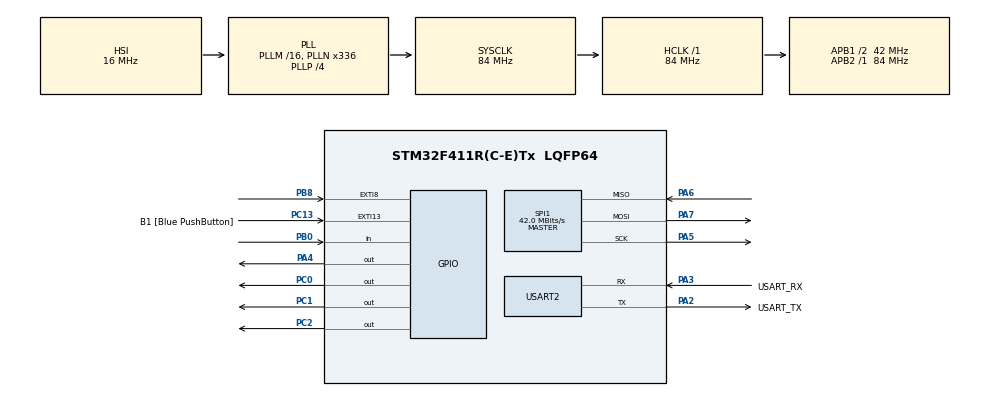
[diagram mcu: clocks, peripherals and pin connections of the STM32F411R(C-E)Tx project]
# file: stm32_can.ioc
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FREERTOS.Tasks01=defaultTask,24,2048,StartDefaultTask,Default,NULL,Dynamic,NULL,NULL
Mcu.Family=STM32F4
Mcu.Name=STM32F411R(C-E)Tx
Mcu.Package=LQFP64
NVIC.EXTI9_5_IRQn=true\:5\:0\:false\:false\:true\:true\:true\:true\:true
NVIC.PriorityGroup=NVIC_PRIORITYGROUP_4
NVIC.TIM1_TRG_COM_TIM11_IRQn=true\:15\:0\:false\:false\:true\:false\:false\:true\:true
NVIC.TIM2_IRQn=true\:5\:0\:false\:false\:true\:true\:true\:true\:true
NVIC.TimeBase=TIM1_TRG_COM_TIM11_IRQn
NVIC.TimeBaseIP=TIM11
PA13.GPIO_Label=TMS
PA13.Mode=Serial_Wire
PA13.Signal=SYS_JTMS-SWDIO
PA14.GPIO_Label=TCK
PA14.Mode=Serial_Wire
PA14.Signal=SYS_JTCK-SWCLK
PA2.GPIO_Label=USART_TX
PA2.Mode=Asynchronous
PA2.Signal=USART2_TX
PA3.GPIO_Label=USART_RX
PA3.Mode=Asynchronous
PA3.Signal=USART2_RX
PA4.Signal=GPIO_Output
PA5.Mode=Full_Duplex_Master
PA5.Signal=SPI1_SCK
PA6.Mode=Full_Duplex_Master
PA6.Signal=SPI1_MISO
PA7.Mode=Full_Duplex_Master
PA7.Signal=SPI1_MOSI
PB0.Signal=GPIO_Input
PB3.GPIO_Label=SWO
PB3.Signal=SYS_JTDO-SWO
PB8.GPIO_ModeDefaultEXTI=GPIO_MODE_IT_FALLING
PB8.GPIO_PuPd=GPIO_PULLUP
PB8.Signal=GPXTI8
PC0.Signal=GPIO_Output
PC1.Signal=GPIO_Output
PC13-ANTI_TAMP.GPIO_Label=B1 [Blue PushButton]
PC13-ANTI_TAMP.GPIO_ModeDefaultEXTI=GPIO_MODE_IT_FALLING
PC13-ANTI_TAMP.Signal=GPXTI13
PC14-OSC32_IN.Mode=LSE-External-Oscillator
PC14-OSC32_IN.Signal=RCC_OSC32_IN
PC15-OSC32_OUT.Mode=LSE-External-Oscillator
PC15-OSC32_OUT.Signal=RCC_OSC32_OUT
PC2.Signal=GPIO_Output
PH0\ -\ OSC_IN.Mode=HSE-External-Clock-Source
PH0\ -\ OSC_IN.Signal=RCC_OSC_IN
PH1\ -\ OSC_OUT.Mode=HSE-External-Clock-Source
PH1\ -\ OSC_OUT.Signal=RCC_OSC_OUT
ProjectManager.HeapSize=0x200
ProjectManager.StackSize=0x400
ProjectManager.TargetToolchain=STM32CubeIDE
RCC.48MHZClocksFreq_Value=84000000
RCC.AHBFreq_Value=84000000
RCC.APB1CLKDivider=RCC_HCLK_DIV2
RCC.APB1Freq_Value=42000000
RCC.APB1TimFreq_Value=84000000
RCC.APB2Freq_Value=84000000
RCC.APB2TimFreq_Value=84000000
RCC.CortexFreq_Value=84000000
RCC.FLatency-AdvancedSettings=FLASH_LATENCY_2
RCC.HCLKFreq_Value=84000000
RCC.HSE_VALUE=8000000
RCC.HSI_VALUE=16000000
RCC.PLLN=336
RCC.PLLP=RCC_PLLP_DIV4
RCC.SYSCLKFreq_VALUE=84000000
RCC.SYSCLKSource=RCC_SYSCLKSOURCE_PLLCLK
RCC.VCOOutputFreq_Value=336000000
SPI1.CalculateBaudRate=42.0 MBits/s
SPI1.Direction=SPI_DIRECTION_2LINES
SPI1.Mode=SPI_MODE_MASTER
SPI1.VirtualType=VM_MASTER
TIM2.Period=299
TIM2.Prescaler=83
USART2.VirtualMode=VM_ASYNC
VP_FREERTOS_VS_CMSIS_V2.Mode=CMSIS_V2
VP_SYS_VS_tim11.Mode=TIM11
VP_TIM2_VS_ClockSourceINT.Mode=Internal
board=NUCLEO-F411RE

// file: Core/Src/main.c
/* USER CODE BEGIN Header */
/**
  ******************************************************************************
  * @file           : main.c
  * @brief          : Pill Dispenser — TB6600 Stepper + IR Sensor (FreeRTOS)
  ******************************************************************************
  * @attention
  *
  * Copyright (c) 2026 STMicroelectronics.
  * All rights reserved.
  *
  ******************************************************************************
  */
/* USER CODE END Header */
#include "main.h"
#include "cmsis_os.h"

/* USER CODE BEGIN Includes */
#include <stdio.h>
#include "mcp2515.h"
/* USER CODE END Includes */

/* USER CODE BEGIN PD */
#define STEPS_PER_DISPENSE  (520U * 2U)  /* 1정 투입 스텝 수 (520스텝 × 2토글, 1/16 마이크로스텝) */

/* 알약 투입 공정 타이밍·설정 — 현장 튜닝 시 이 값만 수정 */
#define PILLS_PER_BOTTLE           2U    /* 약통당 알약 투입 정수 */
#define CONTAINER_QUEUE_DEPTH      8U    /* CAN 약통 정보 대기 큐 깊이 */
#define CONTAINER_QUEUE_WAIT_MS  200U    /* 센서 감지 시 큐 pop 최대 대기 */
#define BELT_STOP_SETTLE_MS        200U  /* 1번 보드 벨트 STOP 반영 대기 */
#define PILL_INTERVAL_MS           500U  /* 알약 1정 투입 간격 */
#define POST_DISPENSE_MS           500U  /* 투입 완료 후 RESUME 전 안정화 */
#define PILL_SENSOR_REARM_MS       500U  /* 알약 센서 클리어 후 재무장 대기 */
/* USER CODE END PD */

SPI_HandleTypeDef hspi1;

TIM_HandleTypeDef htim2;

UART_HandleTypeDef huart2;

/* Definitions for defaultTask */
osThreadId_t defaultTaskHandle;
const osThreadAttr_t defaultTask_attributes = {
  .name = "defaultTask",
  .stack_size = 2048 * 4,
  .priority = (osPriority_t) osPriorityNormal,
};
/* USER CODE BEGIN PV */
MCP2515_HandleTypeDef hmcp2515;

osMutexId_t       canMutex;              /* MCP2515 SPI 동시 접근 방지 */
osSemaphoreId_t   sem_can_rx;            /* MCP2515 INT → CanRxTask 즉시 기상 */
osMessageQueueId_t containerQueue;       /* 1번 보드 약통 정보 수신 큐 (최대 8) */

osSemaphoreId_t   sem_dispense_done;     /* TIM2 ISR → Task: 스텝 완료 신호 */
osSemaphoreId_t   sem_pill_trigger;      /* PB8 IR 센서 EXTI → Task: 약통 도착 신호 */
volatile uint32_t tim_toggle_count   = 0U;
volatile uint32_t tim_target_toggles = 0U;
/* USER CODE END PV */

void SystemClock_Config(void);
static void MX_GPIO_Init(void);
static void MX_USART2_UART_Init(void);
static void MX_TIM2_Init(void);
static void MX_SPI1_Init(void);
void StartDefaultTask(void *argument);

/* USER CODE BEGIN PFP */
static void Dispense_Once(void);
static void CanRxTask(void *argument);
/* USER CODE END PFP */

/* USER CODE BEGIN 0 */
int __io_putchar(int ch)
{
  HAL_UART_Transmit(&huart2, (uint8_t *)&ch, 1, HAL_MAX_DELAY);
  return ch;
}

/* 약통 seq 연속성 검증: 직전 seq+1과 다르면 누락/중복으로 보고 후 현재 값으로 재동기화한다.
 * last_seq/have_last는 호출부의 static 상태를 가리킨다. */
static void Seq_CheckContinuity(const char *tag, uint8_t seq,
                                uint8_t *last_seq, uint8_t *have_last)
{
  if (*have_last)
  {
    uint8_t expected = (uint8_t)(*last_seq + 1U);
    if (seq != expected)
      printf("%s 약통 번호 불연속! (기대 %u, 수신 %u) — 정보 누락 가능, 재동기화\r\n",
             tag, expected, seq);
  }
  *last_seq  = seq;
  *have_last = 1U;
}

/* 2번 보드가 STOP을 보낸 뒤에만 RESUME을 1회 전송한다. */
static uint8_t g_belt_stopped_by_pill = 0U;

static void PillSensor_DrainPending(void)
{
  while (osSemaphoreAcquire(sem_pill_trigger, 0U) == osOK)
  {
  }
}

static void PillSensor_WaitClearAndRearm(uint32_t debounce_ms)
{
  while (HAL_GPIO_ReadPin(SENSOR_PILL_GPIO_Port, SENSOR_PILL_Pin) == GPIO_PIN_RESET)
    osDelay(10U);

  osDelay(debounce_ms);
  PillSensor_DrainPending();
}

static HAL_StatusTypeDef Belt_SendStop(MCP2515_CanMsg *can_msg)
{
  can_msg->data[0] = CAN_CMD_BELT_STOP;
  osMutexAcquire(canMutex, osWaitForever);
  HAL_StatusTypeDef st = MCP2515_Send(&hmcp2515, can_msg);
  osMutexRelease(canMutex);
  if (st == HAL_OK)
    g_belt_stopped_by_pill = 1U;
  return st;
}

static HAL_StatusTypeDef Belt_SendResume(MCP2515_CanMsg *can_msg)
{
  if (g_belt_stopped_by_pill == 0U)
    return HAL_BUSY;

  can_msg->data[0] = CAN_CMD_BELT_RESUME;
  osMutexAcquire(canMutex, osWaitForever);
  HAL_StatusTypeDef st = MCP2515_Send(&hmcp2515, can_msg);
  osMutexRelease(canMutex);
  if (st == HAL_OK)
    g_belt_stopped_by_pill = 0U;
  return st;
}
/* USER CODE END 0 */

int main(void)
{

  /* MCU Configuration--------------------------------------------------------*/

  /* Reset of all peripherals, Initializes the Flash interface and the Systick. */
  HAL_Init();

  /* Configure the system clock */
  SystemClock_Config();

  /* Initialize all configured peripherals */
  MX_GPIO_Init();
  MX_USART2_UART_Init();
  MX_TIM2_Init();
  MX_SPI1_Init();
  /* USER CODE BEGIN 2 */
  setvbuf(stdout, NULL, _IONBF, 0);
  printf("\r\n=== [2번 보드] 알약 투입기 시작 ===\r\n");

  HAL_GPIO_WritePin(STEPPER_ENA_GPIO_Port, STEPPER_ENA_Pin, GPIO_PIN_SET);  /* 초기: 모터 비활성 */

  hmcp2515.hspi    = &hspi1;
  hmcp2515.cs_port = MCP2515_CS_GPIO_Port;
  hmcp2515.cs_pin  = MCP2515_CS_Pin;
  hmcp2515.osc_hz  = MCP2515_OSC_8MHZ;

  if (MCP2515_Init(&hmcp2515) != HAL_OK)
  {
    printf("[통신] CAN 초기화 실패\r\n");
    MCP2515_PrintDiag(&hmcp2515);
  }
  else
  {
    MCP2515_SetAcceptanceFilter(&hmcp2515, CAN_ID_1ST_TX, 0x7FFU);
    MCP2515_SetNormalMode(&hmcp2515);
    printf("[통신] CAN 연결 완료 (8MHz)\r\n");
  }
  /* USER CODE END 2 */

  /* Init scheduler */
  osKernelInitialize();

  /* USER CODE BEGIN RTOS_MUTEX */
  canMutex = osMutexNew(NULL);
  if (canMutex == NULL) Error_Handler();
  /* USER CODE END RTOS_MUTEX */

  /* USER CODE BEGIN RTOS_SEMAPHORES */
  sem_dispense_done = osSemaphoreNew(1U, 0U, NULL);
  if (sem_dispense_done == NULL) Error_Handler();

  /* PB8 IR 센서 (EXTI line 8) 세마포어 — 생성 후 NVIC 활성화 */
  sem_pill_trigger = osSemaphoreNew(1U, 0U, NULL);
  if (sem_pill_trigger == NULL) Error_Handler();

  __HAL_GPIO_EXTI_CLEAR_IT(SENSOR_PILL_Pin);
  HAL_NVIC_SetPriority(EXTI9_5_IRQn, 5, 0);
  HAL_NVIC_EnableIRQ(EXTI9_5_IRQn);

  /* MCP2515 INT (PB0) 세마포어 — 생성 후 NVIC 활성화 */
  sem_can_rx = osSemaphoreNew(2U, 0U, NULL);
  if (sem_can_rx == NULL) Error_Handler();

  __HAL_GPIO_EXTI_CLEAR_IT(MCP2515_INT_Pin);
  HAL_NVIC_SetPriority(EXTI0_IRQn, 5, 0);
  HAL_NVIC_EnableIRQ(EXTI0_IRQn);
  /* USER CODE END RTOS_SEMAPHORES */

  /* USER CODE BEGIN RTOS_QUEUES */
  containerQueue = osMessageQueueNew(CONTAINER_QUEUE_DEPTH, sizeof(ContainerInfo), NULL);
  if (containerQueue == NULL) Error_Handler();
  /* USER CODE END RTOS_QUEUES */

  /* Create the thread(s) */
  /* creation of defaultTask */
  defaultTaskHandle = osThreadNew(StartDefaultTask, NULL, &defaultTask_attributes);

  /* USER CODE BEGIN RTOS_THREADS */
  static const osThreadAttr_t can_rx_attr = {
    .name       = "CanRxTask",
    .stack_size = 256U * 4U,
    .priority   = osPriorityAboveNormal,
  };
  if (osThreadNew(CanRxTask, NULL, &can_rx_attr) == NULL)
    Error_Handler();
  /* USER CODE END RTOS_THREADS */

  /* Start scheduler */
  osKernelStart();

  /* We should never get here as control is now taken by the scheduler */

  /* Infinite loop */
  while (1)
  {

  }
}

void SystemClock_Config(void)
{
  RCC_OscInitTypeDef RCC_OscInitStruct = {0};
  RCC_ClkInitTypeDef RCC_ClkInitStruct = {0};

  /** Configure the main internal regulator output voltage
  */
  __HAL_RCC_PWR_CLK_ENABLE();
  __HAL_PWR_VOLTAGESCALING_CONFIG(PWR_REGULATOR_VOLTAGE_SCALE1);

  /** Initializes the RCC Oscillators according to the specified parameters
  * in the RCC_OscInitTypeDef structure.
  */
  RCC_OscInitStruct.OscillatorType = RCC_OSCILLATORTYPE_HSI;
  RCC_OscInitStruct.HSIState = RCC_HSI_ON;
  RCC_OscInitStruct.HSICalibrationValue = RCC_HSICALIBRATION_DEFAULT;
  RCC_OscInitStruct.PLL.PLLState = RCC_PLL_ON;
  RCC_OscInitStruct.PLL.PLLSource = RCC_PLLSOURCE_HSI;
  RCC_OscInitStruct.PLL.PLLM = 16;
  RCC_OscInitStruct.PLL.PLLN = 336;
  RCC_OscInitStruct.PLL.PLLP = RCC_PLLP_DIV4;
  RCC_OscInitStruct.PLL.PLLQ = 4;
  if (HAL_RCC_OscConfig(&RCC_OscInitStruct) != HAL_OK)
  {
    Error_Handler();
  }

  /** Initializes the CPU, AHB and APB buses clocks
  */
  RCC_ClkInitStruct.ClockType = RCC_CLOCKTYPE_HCLK|RCC_CLOCKTYPE_SYSCLK
                              |RCC_CLOCKTYPE_PCLK1|RCC_CLOCKTYPE_PCLK2;
  RCC_ClkInitStruct.SYSCLKSource = RCC_SYSCLKSOURCE_PLLCLK;
  RCC_ClkInitStruct.AHBCLKDivider = RCC_SYSCLK_DIV1;
  RCC_ClkInitStruct.APB1CLKDivider = RCC_HCLK_DIV2;
  RCC_ClkInitStruct.APB2CLKDivider = RCC_HCLK_DIV1;

  if (HAL_RCC_ClockConfig(&RCC_ClkInitStruct, FLASH_LATENCY_2) != HAL_OK)
  {
    Error_Handler();
  }
}

static void MX_SPI1_Init(void)
{

  /* SPI1 parameter configuration*/
  hspi1.Instance = SPI1;
  hspi1.Init.Mode = SPI_MODE_MASTER;
  hspi1.Init.Direction = SPI_DIRECTION_2LINES;
  hspi1.Init.DataSize = SPI_DATASIZE_8BIT;
  hspi1.Init.CLKPolarity = SPI_POLARITY_LOW;
  hspi1.Init.CLKPhase = SPI_PHASE_1EDGE;
  hspi1.Init.NSS = SPI_NSS_SOFT;
  hspi1.Init.BaudRatePrescaler = SPI_BAUDRATEPRESCALER_2;
  hspi1.Init.FirstBit = SPI_FIRSTBIT_MSB;
  hspi1.Init.TIMode = SPI_TIMODE_DISABLE;
  hspi1.Init.CRCCalculation = SPI_CRCCALCULATION_DISABLE;
  hspi1.Init.CRCPolynomial = 10;
  if (HAL_SPI_Init(&hspi1) != HAL_OK)
  {
    Error_Handler();
  }
  /* USER CODE BEGIN SPI1_Init 2 */
  /* MCP2515 최대 클럭 10MHz, 84MHz/16=5.25MHz로 재초기화 */
  hspi1.Init.BaudRatePrescaler = SPI_BAUDRATEPRESCALER_16;
  if (HAL_SPI_Init(&hspi1) != HAL_OK) Error_Handler();
  /* USER CODE END SPI1_Init 2 */

}

static void MX_TIM2_Init(void)
{

  TIM_ClockConfigTypeDef sClockSourceConfig = {0};
  TIM_MasterConfigTypeDef sMasterConfig = {0};

  htim2.Instance = TIM2;
  htim2.Init.Prescaler = 83;
  htim2.Init.CounterMode = TIM_COUNTERMODE_UP;
  htim2.Init.Period = 299;
  htim2.Init.ClockDivision = TIM_CLOCKDIVISION_DIV1;
  htim2.Init.AutoReloadPreload = TIM_AUTORELOAD_PRELOAD_DISABLE;
  if (HAL_TIM_Base_Init(&htim2) != HAL_OK)
  {
    Error_Handler();
  }
  sClockSourceConfig.ClockSource = TIM_CLOCKSOURCE_INTERNAL;
  if (HAL_TIM_ConfigClockSource(&htim2, &sClockSourceConfig) != HAL_OK)
  {
    Error_Handler();
  }
  sMasterConfig.MasterOutputTrigger = TIM_TRGO_RESET;
  sMasterConfig.MasterSlaveMode = TIM_MASTERSLAVEMODE_DISABLE;
  if (HAL_TIMEx_MasterConfigSynchronization(&htim2, &sMasterConfig) != HAL_OK)
  {
    Error_Handler();
  }

}

static void MX_USART2_UART_Init(void)
{

  huart2.Instance = USART2;
  huart2.Init.BaudRate = 115200;
  huart2.Init.WordLength = UART_WORDLENGTH_8B;
  huart2.Init.StopBits = UART_STOPBITS_1;
  huart2.Init.Parity = UART_PARITY_NONE;
  huart2.Init.Mode = UART_MODE_TX_RX;
  huart2.Init.HwFlowCtl = UART_HWCONTROL_NONE;
  huart2.Init.OverSampling = UART_OVERSAMPLING_16;
  if (HAL_UART_Init(&huart2) != HAL_OK)
  {
    Error_Handler();
  }

}

static void MX_GPIO_Init(void)
{
  GPIO_InitTypeDef GPIO_InitStruct = {0};

  /* GPIO Ports Clock Enable */
  __HAL_RCC_GPIOC_CLK_ENABLE();
  __HAL_RCC_GPIOH_CLK_ENABLE();
  __HAL_RCC_GPIOA_CLK_ENABLE();
  __HAL_RCC_GPIOB_CLK_ENABLE();

  /*Configure GPIO pin Output Level */
  HAL_GPIO_WritePin(GPIOC, GPIO_PIN_0|GPIO_PIN_1|GPIO_PIN_2, GPIO_PIN_RESET);

  /*Configure GPIO pin Output Level */
  HAL_GPIO_WritePin(GPIOA, GPIO_PIN_4, GPIO_PIN_RESET);

  /*Configure GPIO pins : PC0 PC1 PC2 */
  GPIO_InitStruct.Pin = GPIO_PIN_0|GPIO_PIN_1|GPIO_PIN_2;
  GPIO_InitStruct.Mode = GPIO_MODE_OUTPUT_PP;
  GPIO_InitStruct.Pull = GPIO_NOPULL;
  GPIO_InitStruct.Speed = GPIO_SPEED_FREQ_LOW;
  HAL_GPIO_Init(GPIOC, &GPIO_InitStruct);

  /*Configure GPIO pin : PA4 */
  GPIO_InitStruct.Pin = GPIO_PIN_4;
  GPIO_InitStruct.Mode = GPIO_MODE_OUTPUT_PP;
  GPIO_InitStruct.Pull = GPIO_NOPULL;
  GPIO_InitStruct.Speed = GPIO_SPEED_FREQ_LOW;
  HAL_GPIO_Init(GPIOA, &GPIO_InitStruct);

  /*Configure GPIO pin : PB0 */
  GPIO_InitStruct.Pin = GPIO_PIN_0;
  GPIO_InitStruct.Mode = GPIO_MODE_INPUT;
  GPIO_InitStruct.Pull = GPIO_NOPULL;
  HAL_GPIO_Init(GPIOB, &GPIO_InitStruct);

  /*Configure GPIO pin : PB8 */
  GPIO_InitStruct.Pin = GPIO_PIN_8;
  GPIO_InitStruct.Mode = GPIO_MODE_IT_FALLING;
  GPIO_InitStruct.Pull = GPIO_PULLUP;
  HAL_GPIO_Init(GPIOB, &GPIO_InitStruct);

  /* EXTI interrupt init*/
  HAL_NVIC_SetPriority(EXTI9_5_IRQn, 5, 0);
  HAL_NVIC_EnableIRQ(EXTI9_5_IRQn);

  /* USER CODE BEGIN MX_GPIO_Init_2 */
  /* PB8 EXTI NVIC를 CubeMX가 조기 활성화하므로, sem_pill_trigger 생성 전까지 비활성화 */
  HAL_NVIC_DisableIRQ(EXTI9_5_IRQn);

  /* PB0 = MCP2515 INT: FALLING EXTI — NVIC는 sem_can_rx 생성 후 별도 활성화 */
  GPIO_InitStruct.Pin  = MCP2515_INT_Pin;
  GPIO_InitStruct.Mode = GPIO_MODE_IT_FALLING;
  GPIO_InitStruct.Pull = GPIO_PULLUP;
  HAL_GPIO_Init(MCP2515_INT_GPIO_Port, &GPIO_InitStruct);

  /* ENA(PC2)를 HIGH(비활성)로 초기화: CubeMX가 PC0~2를 모두 LOW로 설정하므로 재설정 */
  HAL_GPIO_WritePin(STEPPER_ENA_GPIO_Port, STEPPER_ENA_Pin, GPIO_PIN_SET);

  /* CS(PA4)를 HIGH(비활성)로 초기화: SPI 첫 트랜잭션 전 CS 보장 */
  HAL_GPIO_WritePin(MCP2515_CS_GPIO_Port, MCP2515_CS_Pin, GPIO_PIN_SET);

  /* USER CODE END MX_GPIO_Init_2 */
}

/* USER CODE BEGIN 4 */
void HAL_GPIO_EXTI_Callback(uint16_t GPIO_Pin)
{
  if (GPIO_Pin == MCP2515_INT_Pin)
    osSemaphoreRelease(sem_can_rx);
  else if (GPIO_Pin == SENSOR_PILL_Pin)
    osSemaphoreRelease(sem_pill_trigger);
}

static void CanRxTask(void *argument)
{
  (void)argument;
  uint8_t last_seq = 0xFFU;  /* 직전에 큐에 삽입된 seq — CAN 재전송 중복 차단 */

  printf("[통신] 약통 정보 수신 대기 시작\r\n");

  for (;;)
  {
    osSemaphoreAcquire(sem_can_rx, 100U);  /* 100ms 폴링 폴백 */

    for (;;)
    {
      MCP2515_CanMsg rx = {0};
      osMutexAcquire(canMutex, osWaitForever);
      HAL_StatusTypeDef st = MCP2515_Receive(&hmcp2515, &rx, 1U);
      osMutexRelease(canMutex);

      if (st != HAL_OK)
        break;

      if (rx.id != CAN_ID_1ST_TX || rx.dlc < 3U || rx.data[0] != CAN_MSG_CONTAINER)
        continue;

      /* 동일 seq가 다시 수신되면 CAN 재전송으로 간주하고 무시 */
      if (rx.data[1] == last_seq)
      {
        printf("[수신] 중복 메시지 무시 (번호 %u, EMI 재전송 추정)\r\n", rx.data[1]);
        continue;
      }
      last_seq = rx.data[1];

      ContainerInfo info = { .seq = rx.data[1], .color = rx.data[2] };

      if (osMessageQueuePut(containerQueue, &info, 0U, 0U) == osOK)
      {
        uint32_t cnt = osMessageQueueGetCount(containerQueue);
        printf("[수신] 약통 도착 (번호 %u, 색상 %c) — 대기 %lu개\r\n",
               info.seq, info.color, (unsigned long)cnt);
      }
      else
      {
        printf("[수신] 대기열 가득참 — 약통 번호 %u 누락\r\n",
               info.seq);
      }
    }
  }
}

/* 스텝모터를 STEPS_PER_DISPENSE 만큼 회전시켜 알약 1정을 투하한다.
   TIM2 ISR이 완료 시 sem_dispense_done을 방출할 때까지 태스크가 블록된다. */
static void Dispense_Once(void)
{
  tim_toggle_count   = 0U;
  tim_target_toggles = STEPS_PER_DISPENSE;

  HAL_GPIO_WritePin(STEPPER_ENA_GPIO_Port, STEPPER_ENA_Pin, GPIO_PIN_RESET);
  HAL_GPIO_WritePin(STEPPER_DIR_GPIO_Port, STEPPER_DIR_Pin, GPIO_PIN_SET);
  osDelay(10U);

  __HAL_TIM_SET_COUNTER(&htim2, 0U);
  __HAL_TIM_SET_AUTORELOAD(&htim2, 1499U);
  HAL_TIM_Base_Start_IT(&htim2);

  osSemaphoreAcquire(sem_dispense_done, osWaitForever);
}

/* USER CODE END 4 */

void StartDefaultTask(void *argument)
{
  /* USER CODE BEGIN 5 */
  (void)argument;

  printf("[준비] 약통 감지 대기 중\r\n");

  /* 부팅 시 스퓨리어스 EXTI 엣지로 쌓인 트리거 토큰 제거 */
  PillSensor_DrainPending();

  static GPIO_PinState prev_pill_sensor = GPIO_PIN_SET;
  static uint8_t        pill_armed      = 1U;

  for (;;)
  {
    /* ── 약통 감지 트리거 ──────────────────────────────────── */
    GPIO_PinState pill_now     = HAL_GPIO_ReadPin(SENSOR_PILL_GPIO_Port, SENSOR_PILL_Pin);
    uint8_t       pill_falling = (pill_now == GPIO_PIN_RESET && prev_pill_sensor == GPIO_PIN_SET);
    uint8_t       sem_pending  = (osSemaphoreAcquire(sem_pill_trigger, 0U) == osOK);
    uint8_t       sensor_trig  = 0U;

    /* 재무장 전에는 센서 트리거 무시, FALLING 엣지 + LOW일 때만 1회 인정 */
    if (pill_armed && pill_now == GPIO_PIN_RESET && (pill_falling || sem_pending))
      sensor_trig = 1U;
    else if (sem_pending)
      PillSensor_DrainPending();

    if (sensor_trig)
    {
      /* ── 약통 정보 dequeue (최대 200ms 대기) ─────────────────── */
      static uint8_t s_last_seq  = 0U;
      static uint8_t s_have_last = 0U;

      ContainerInfo info = { .seq = 0U, .color = '?' };
      if (osMessageQueueGet(containerQueue, &info, NULL, CONTAINER_QUEUE_WAIT_MS) == osOK)
      {
        uint32_t cnt = osMessageQueueGetCount(containerQueue);
        printf("[처리] 약통 확인 (번호 %u, 색상 %c) — 대기 %lu개\r\n",
               info.seq, info.color, (unsigned long)cnt);
        Seq_CheckContinuity("[처리]", info.seq, &s_last_seq, &s_have_last);
      }

      if (sensor_trig)
        pill_armed = 0U;

      if (info.color == 'N')
      {
        /* NG: 알약 미투입. 벨트 정지 없이 그대로 통과시켜 불량 배출로 흘려보냄 */
        printf("[처리] 불량 약통 — 알약 투입 건너뛰고 그대로 통과\r\n");
      }
      else
      {
        /* ── CAN: 1번 보드 벨트 정지 요청 ──────────────────────── */
        MCP2515_CanMsg can_msg = {
          .id       = CAN_ID_2ND_TX,
          .dlc      = 1U,
          .data     = {CAN_CMD_BELT_STOP},
          .extended = false,
        };
        HAL_StatusTypeDef tx_st = Belt_SendStop(&can_msg);
        if (tx_st == HAL_OK)
          printf("[벨트] 정지 요청 전송 (알약 투입 준비)\r\n");
        else
          printf("[벨트] 정지 요청 전송 실패\r\n");
        osDelay(BELT_STOP_SETTLE_MS);

        for (uint8_t pill_i = 0U; pill_i < PILLS_PER_BOTTLE; pill_i++)
        {
          if (pill_i > 0U)
            osDelay(PILL_INTERVAL_MS);
          Dispense_Once();
          printf("[투입] 알약 %u정 투입 완료\r\n", (unsigned)(pill_i + 1U));
        }

        HAL_GPIO_WritePin(STEPPER_ENA_GPIO_Port, STEPPER_ENA_Pin, GPIO_PIN_SET);  /* 모터 비활성 */

        osDelay(POST_DISPENSE_MS);

        /* ── CAN: STOP을 보낸 경우에만 RESUME 1회 전송 ─────────── */
        tx_st = Belt_SendResume(&can_msg);
        if (tx_st == HAL_OK)
          printf("[벨트] 재가동 요청 전송 (투입 완료)\r\n");
        else if (tx_st == HAL_BUSY)
          printf("[벨트] 재가동 요청 생략 (정지한 적 없음)\r\n");
        else
          printf("[벨트] 재가동 요청 전송 실패\r\n");
      }

      if (sensor_trig)
      {
        PillSensor_WaitClearAndRearm(PILL_SENSOR_REARM_MS);
        pill_armed = 1U;
      }
    }
    else
    {
      /* ── 감지 없음: 모터 비활성화 (발열 방지) ────────────── */
      HAL_GPIO_WritePin(STEPPER_ENA_GPIO_Port, STEPPER_ENA_Pin, GPIO_PIN_SET);
      osDelay(10U);
    }

    prev_pill_sensor = pill_now;
  }
  /* USER CODE END 5 */
}

void HAL_TIM_PeriodElapsedCallback(TIM_HandleTypeDef *htim)
{
  if (htim->Instance == TIM11)
  {
    HAL_IncTick();
  }
  /* USER CODE BEGIN Callback 1 */
  if (htim->Instance == TIM2)
  {
    if (tim_toggle_count < tim_target_toggles)
    {
      HAL_GPIO_WritePin(STEPPER_PUL_GPIO_Port, STEPPER_PUL_Pin,
                        (tim_toggle_count % 2U == 0U) ? GPIO_PIN_SET : GPIO_PIN_RESET);
      tim_toggle_count++;

      /* 가속 구간: 처음 50토글에서 주기를 1500μs → 300μs로 선형 감소 */
      if (tim_toggle_count < 50U)
        __HAL_TIM_SET_AUTORELOAD(&htim2, 1500U - 24U * tim_toggle_count - 1U);
      else
        __HAL_TIM_SET_AUTORELOAD(&htim2, 299U);
    }
    else
    {
      /* 완료: 타이머 정지, 펄스 LOW, 세마포어 방출 */
      __HAL_TIM_SET_AUTORELOAD(&htim2, 299U);
      HAL_TIM_Base_Stop_IT(&htim2);
      HAL_GPIO_WritePin(STEPPER_PUL_GPIO_Port, STEPPER_PUL_Pin, GPIO_PIN_RESET);
      osSemaphoreRelease(sem_dispense_done);
    }
  }
  /* USER CODE END Callback 1 */
}

void Error_Handler(void)
{
  __disable_irq();
  while (1) {}
}
